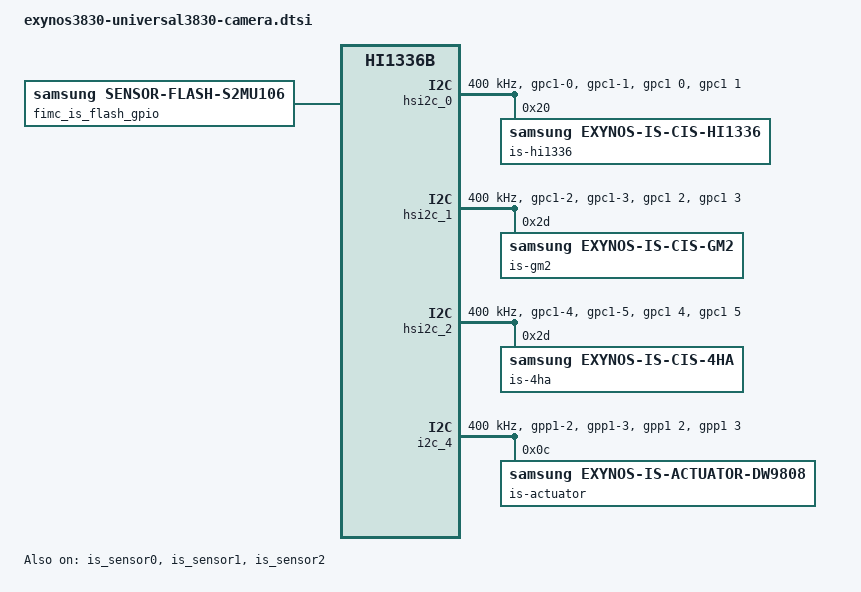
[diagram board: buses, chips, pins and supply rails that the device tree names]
/*
 * Samsung Exynos SoC series Pablo driver
 *
 * Copyright (c) 2019 Samsung Electronics Co., Ltd
 *
 * This program is free software; you can redistribute it and/or modify
 * it under the terms of the GNU General Public License version 2 as
 * published by the Free Software Foundation.
 */

#include <dt-bindings/camera/exynos_is_dt.h>
#include <dt-bindings/interrupt-controller/exynos3830.h>
#include <dt-bindings/clock/exynos3830.h>

#include "camera/module_gm2.dtsi"
#include "camera/module_hi1336b.dtsi"

/ {
	fragment@camera {
		target-path = "/";
		__overlay__ {
			/* REAR CAMERA */
			is_sensor_gm2: is_sensor_gm2@3D {
				pinctrl-names = "pin0", "pin1", "pin2", "release";
				pinctrl-0 = <>;
				pinctrl-1 = <&sensor_mclk0_out>;
				pinctrl-2 = <&sensor_mclk0_fn>;
				pinctrl-3 = <>;

				position = <0>; /* Rear:0. Front:1 */
				id = <0>; /* sensor node id */
				mclk_ch = <0>;
				sensor_i2c_ch = <0>; /* I2C 0 */

				status = "okay";

				af {
					product_name = <24>; /* ACTUATOR_NAME_DW9808 */
					i2c_ch = <0>; /* SENSOR_CONTROL_I2C0 */
				};

				flash {
					product_name = <14>; /* FLASH_S2MU106 */
				};

				power_seq {
					gpio_mclk = <&gpc0 0 0x1>;

					scenario_normal_on {
						/* A start node number should be over the 10 for reserved number 0~9. */
						/* pname = "name"; pin = <act value dealy voltage>; gpio = <gpx# # 0x1>; */
						10 { pname = "MCLK"; pin = <PIN_MCLK 1 1000>; };
						20 { pname = "sen_rst low"; pin = <PIN_OUTPUT 0 0>; gpio = <&gpa2 3 0x1>; };
						30 { pname = "S2MPB03_VLDO6"; pin = <PIN_REGULATOR 1 0>; };
						40 { pname = "S2MPB03_VLDO3"; pin = <PIN_REGULATOR 1 0>; };
						50 { pname = "S2MPB03_VLDO1"; pin = <PIN_REGULATOR 1 0>; };
						60 { pname = "vdd_ldo32"; pin = <PIN_REGULATOR 1 1000>; };
						65 { pname = "cam_mipi_sel"; pin = <PIN_OUTPUT 1 2000>; gpio = <&gpg2 7 0x0>; };
						70 { pname = "mipi_sel"; pin = <PIN_OUTPUT 0 1000>; gpio = <&gpg2 5 0x0>; };
						80 { pname = "cam_mipi_sel"; pin = <PIN_OUTPUT 0 1000>; gpio = <&gpg2 7 0x0>; };
						90 { pname = "none"; pin = <PIN_NONE 0 0>; };
						100 { pname = "on_i2c"; pin = <PIN_I2C 1 0>; };
						110 { pname = "pin"; pin = <PIN_FUNCTION 2 1000>; };
						120 { pname = "sen_rst high"; pin = <PIN_OUTPUT 1 5000>; gpio = <&gpa2 3 0x1>; };
					};

					scenario_normal_off {
						/* A start node number should be over the 10 for reserved number 0~9. */
						/* pname = "name"; pin = <act value dealy voltage>; gpio = <gpx# # 0x1>; */
						10 { pname = "sen_rst"; pin = <PIN_RESET 0 10>; gpio = <&gpa2 3 0x1>; };
						20 { pname = "sen_rst input"; pin = <PIN_INPUT 0 0>; gpio = <&gpa2 3 0x1>; };
						30 { pname = "vdd_ldo32"; pin = <PIN_REGULATOR 0 0>; };
						40 { pname = "S2MPB03_VLDO1"; pin = <PIN_REGULATOR 0 0>; };
						50 { pname = "S2MPB03_VLDO6"; pin = <PIN_REGULATOR 0 0>; };
						60 { pname = "S2MPB03_VLDO3"; pin = <PIN_REGULATOR 0 0>; };
						70 { pname = "none"; pin = <PIN_NONE 0 0>; };
						80 { pname = "off_i2c"; pin = <PIN_I2C 0 0>; };
						90 { pname = "pin"; pin = <PIN_FUNCTION 0 0>; };
						100 { pname = "pin"; pin = <PIN_FUNCTION 1 0>; };
						110 { pname = "pin"; pin = <PIN_FUNCTION 0 0>; };
						120 { pname = "MCLK"; pin = <PIN_MCLK 0 5000>; };
					};
				};
			};

			/* FRONT CAMERA */
			is_sensor_hi1336: is_sensor_hi1336@D3 {
				pinctrl-names = "pin0", "pin1", "pin2", "release";
				pinctrl-0 = <>;
				pinctrl-1 = <&sensor_mclk1_out>;
				pinctrl-2 = <&sensor_mclk1_fn>;
				pinctrl-3 = <>;

				position = <1>; /* Rear:0. Front:1 */
				id = <1>; /* sensor node id */
				mclk_ch = <1>;
				sensor_i2c_ch = <1>;

				status = "okay";

				power_seq {
					gpio_mclk = <&gpc0 1 0x1>;

					scenario_normal_on {
						/* A start node number should be over the 10 for reserved number 0~9. */
						/* pname = "name"; pin = <act value dealy voltage>; gpio = <gpx# # 0x1>; */
						10 { pname = "sen_rst low"; pin = <PIN_OUTPUT 0 0>; gpio = <&gpa2 4 0x1>; };
						20 { pname = "S2MPB03_VLDO7"; pin = <PIN_REGULATOR 1 0>; };
						30 { pname = "S2MPB03_VLDO3"; pin = <PIN_REGULATOR 1 0>; };
						40 { pname = "S2MPB03_VLDO2"; pin = <PIN_REGULATOR 1 0>; };
						50 { pname = "none"; pin = <PIN_NONE 0 1000>; };
						60 { pname = "on_i2c"; pin = <PIN_I2C 1 0>; };
						70 { pname = "pin"; pin = <PIN_FUNCTION 2 0>; };
						80 { pname = "MCLK"; pin = <PIN_MCLK 1 0>; };
						90 { pname = "sen_rst high"; pin = <PIN_OUTPUT 1 0>; gpio = <&gpa2 4 0x1>; };
						/* need eeprom pin control */
					};

					scenario_normal_off {
						/* A start node number should be over the 10 for reserved number 0~9. */
						/* pname = "name"; pin = <act value dealy voltage>; gpio = <gpx# # 0x1>; */
						10 { pname = "sen_rst"; pin = <PIN_RESET 0 10>; gpio = <&gpa2 4 0x1>; };
						20 { pname = "sen_rst input"; pin = <PIN_INPUT 0 0>; gpio = <&gpa2 4 0x1>; };
						30 { pname = "S2MPB03_VLDO2"; pin = <PIN_REGULATOR 0 0>; };
						40 { pname = "S2MPB03_VLDO3"; pin = <PIN_REGULATOR 0 0>; };
						50 { pname = "S2MPB03_VLDO7"; pin = <PIN_REGULATOR 0 0>; };
						60 { pname = "off_i2c"; pin = <PIN_I2C 0 0>; };
						70 { pname = "pin"; pin = <PIN_FUNCTION 0 0>; };
						80 { pname = "pin"; pin = <PIN_FUNCTION 1 0>; };
						90 { pname = "pin"; pin = <PIN_FUNCTION 0 0>; };
						100 { pname = "MCLK"; pin = <PIN_MCLK 0 0>; };
						/* need eeprom pin control */
					};
				};
			};

			fimc_is_flash_gpio: fimc-is-flash-gpio@0 {
				compatible = "samsung,sensor-flash-s2mu106";
				id = <0>;
				led_ch = <1 2>; /* CH1 ~ CH4, CH0 not exist */
				status = "okay";
			};
		}; /* end of __overlay__ */
	}; /* end of fragment */
}; /* end of root */

/***** reference symbol node *****/

&exynos_is {
	vender {
		rear_sensor_id = <61>; /* GM2 */
		front_sensor_id = <211>; /* HI1336 */
		rear2_sensor_id = <39>; /* 4HA */
	};

	lic_offsets {
		/* 3AA = <setA lic offset0, setA lic offset1, set A trigger context */
		/*		setB lic offset0, setB lic offset1, set B trigger context> */
		/* 4672: 4640x4352 */
		/* 5824: 5804x4352 */
		3AA = <3776 7552 1 3776 7552 2>;
	};

	is_dvfs {
		#define DVFS_INT_L0 667000
		#define DVFS_INT_L1 534000
		#define DVFS_INT_L2 334000
		#define DVFS_INT_L3 200000
		#define DVFS_INT_L4 100000

		#define DVFS_CAM_L0 690000
		#define DVFS_CAM_L1 680000
		#define DVFS_CAM_L2 670000
		#define DVFS_CAM_L3 660000
		#define DVFS_CAM_L4 650000

		#define DVFS_MIF_L0 1794000
		#define DVFS_MIF_L1 1539000
		#define DVFS_MIF_L2 1352000
		#define DVFS_MIF_L3 1014000
		#define DVFS_MIF_L4 845000
		#define DVFS_MIF_L5 676000
		#define DVFS_MIF_L6 546000
		#define DVFS_MIF_L7 421000

		table0 {
			desc = "dvfs table v0.0 for 12M/8M/5M";

			default_cam = <DVFS_CAM_L0>;
			default_mif = <DVFS_MIF_L0>;
			default_int = <DVFS_INT_L0>;
			default_hpg = <0>;

			front_preview_cam = <DVFS_CAM_L0>;
			front_preview_mif = <DVFS_MIF_L0>;
			front_preview_int = <DVFS_INT_L0>;
			front_preview_hpg = <0>;

			front_preview_full_cam = <DVFS_CAM_L0>;
			front_preview_full_mif = <DVFS_MIF_L0>;
			front_preview_full_int = <DVFS_INT_L0>;
			front_preview_full_hpg = <0>;

			front_capture_cam = <DVFS_CAM_L0>;
			front_capture_mif = <DVFS_MIF_L0>;
			front_capture_int = <DVFS_INT_L0>;
			front_capture_hpg = <0>;

			front_video_cam = <DVFS_CAM_L0>;
			front_video_mif = <DVFS_MIF_L0>;
			front_video_int = <DVFS_INT_L0>;
			front_video_hpg = <0>;

			front_video_whd_cam = <DVFS_CAM_L0>;
			front_video_whd_mif = <DVFS_MIF_L0>;
			front_video_whd_int = <DVFS_INT_L0>;
			front_video_whd_hpg = <0>;

			front_video_uhd_cam = <DVFS_CAM_L0>;
			front_video_uhd_mif = <DVFS_MIF_L0>;
			front_video_uhd_int = <DVFS_INT_L0>;
			front_video_uhd_hpg = <0>;

			front_video_capture_cam = <DVFS_CAM_L0>;
			front_video_capture_mif = <DVFS_MIF_L0>;
			front_video_capture_int = <DVFS_INT_L0>;
			front_video_capture_hpg = <0>;

			front_video_whd_capture_cam = <DVFS_CAM_L0>;
			front_video_whd_capture_mif = <DVFS_MIF_L0>;
			front_video_whd_capture_int = <DVFS_INT_L0>;
			front_video_whd_capture_hpg = <0>;

			front_video_uhd_capture_cam = <DVFS_CAM_L0>;
			front_video_uhd_capture_mif = <DVFS_MIF_L0>;
			front_video_uhd_capture_int = <DVFS_INT_L0>;
			front_video_uhd_capture_hpg = <0>;

			front_vt1_cam = <DVFS_CAM_L0>;
			front_vt1_mif = <DVFS_MIF_L0>;
			front_vt1_int = <DVFS_INT_L0>;
			front_vt1_hpg = <0>;

			front_vt2_cam = <DVFS_CAM_L0>;
			front_vt2_mif = <DVFS_MIF_L0>;
			front_vt2_int = <DVFS_INT_L0>;
			front_vt2_hpg = <0>;

			front_vt4_cam = <DVFS_CAM_L0>;
			front_vt4_mif = <DVFS_MIF_L0>;
			front_vt4_int = <DVFS_INT_L0>;
			front_vt4_hpg = <0>;

			front_preview_high_speed_fps_cam = <DVFS_CAM_L0>;
			front_preview_high_speed_fps_mif = <DVFS_MIF_L0>;
			front_preview_high_speed_fps_int = <DVFS_INT_L0>;
			front_preview_high_speed_fps_hpg = <0>;

			rear2_preview_fhd_cam = <DVFS_CAM_L0>;
			rear2_preview_fhd_mif = <DVFS_MIF_L0>;
			rear2_preview_fhd_int = <DVFS_INT_L0>;
			rear2_preview_fhd_hpg = <0>;

			rear2_capture_cam = <DVFS_CAM_L0>;
			rear2_capture_mif = <DVFS_MIF_L0>;
			rear2_capture_int = <DVFS_INT_L0>;
			rear2_capture_hpg = <0>;

			rear2_video_fhd_cam = <DVFS_CAM_L0>;
			rear2_video_fhd_mif = <DVFS_MIF_L0>;
			rear2_video_fhd_int = <DVFS_INT_L0>;
			rear2_video_fhd_hpg = <0>;

			rear2_video_fhd_capture_cam = <DVFS_CAM_L0>;
			rear2_video_fhd_capture_mif = <DVFS_MIF_L0>;
			rear2_video_fhd_capture_int = <DVFS_INT_L0>;
			rear2_video_fhd_capture_hpg = <0>;

			rear_preview_fhd_cam = <DVFS_CAM_L0>;
			rear_preview_fhd_mif = <DVFS_MIF_L0>;
			rear_preview_fhd_int = <DVFS_INT_L0>;
			rear_preview_fhd_hpg = <0>;

			rear_preview_whd_cam = <DVFS_CAM_L0>;
			rear_preview_whd_mif = <DVFS_MIF_L0>;
			rear_preview_whd_int = <DVFS_INT_L0>;
			rear_preview_whd_hpg = <0>;

			rear_preview_uhd_cam = <DVFS_CAM_L0>;
			rear_preview_uhd_mif = <DVFS_MIF_L0>;
			rear_preview_uhd_int = <DVFS_INT_L0>;
			rear_preview_uhd_hpg = <0>;

			rear_preview_uhd_60fps_cam = <DVFS_CAM_L0>;
			rear_preview_uhd_60fps_mif = <DVFS_MIF_L0>;
			rear_preview_uhd_60fps_int = <DVFS_INT_L0>;
			rear_preview_uhd_60fps_hpg = <0>;

			rear_preview_full_cam = <DVFS_CAM_L0>;
			rear_preview_full_mif = <DVFS_MIF_L0>;
			rear_preview_full_int = <DVFS_INT_L0>;
			rear_preview_full_hpg = <0>;

			rear_capture_cam = <DVFS_CAM_L0>;
			rear_capture_mif = <DVFS_MIF_L0>;
			rear_capture_int = <DVFS_INT_L0>;
			rear_capture_hpg = <0>;

			rear_video_fhd_cam = <DVFS_CAM_L0>;
			rear_video_fhd_mif = <DVFS_MIF_L0>;
			rear_video_fhd_int = <DVFS_INT_L0>;
			rear_video_fhd_hpg = <0>;

			rear_video_whd_cam = <DVFS_CAM_L0>;
			rear_video_whd_mif = <DVFS_MIF_L0>;
			rear_video_whd_int = <DVFS_INT_L0>;
			rear_video_whd_hpg = <0>;

			rear_video_uhd_cam = <DVFS_CAM_L0>;
			rear_video_uhd_mif = <DVFS_MIF_L0>;
			rear_video_uhd_int = <DVFS_INT_L0>;
			rear_video_uhd_hpg = <0>;

			rear_video_uhd_60fps_cam = <DVFS_CAM_L0>;
			rear_video_uhd_60fps_mif = <DVFS_MIF_L0>;
			rear_video_uhd_60fps_int = <DVFS_INT_L0>;
			rear_video_uhd_60fps_hpg = <0>;

			rear_video_fhd_capture_cam = <DVFS_CAM_L0>;
			rear_video_fhd_capture_mif = <DVFS_MIF_L0>;
			rear_video_fhd_capture_int = <DVFS_INT_L0>;
			rear_video_fhd_capture_hpg = <0>;

			rear_video_whd_capture_cam = <DVFS_CAM_L0>;
			rear_video_whd_capture_mif = <DVFS_MIF_L0>;
			rear_video_whd_capture_int = <DVFS_INT_L0>;
			rear_video_whd_capture_hpg = <0>;

			rear_video_uhd_capture_cam = <DVFS_CAM_L0>;
			rear_video_uhd_capture_mif = <DVFS_MIF_L0>;
			rear_video_uhd_capture_int = <DVFS_INT_L0>;
			rear_video_uhd_capture_hpg = <0>;

			dual_preview_cam = <DVFS_CAM_L0>;
			dual_preview_mif = <DVFS_MIF_L0>;
			dual_preview_int = <DVFS_INT_L0>;
			dual_preview_hpg = <0>;

			dual_capture_cam = <DVFS_CAM_L0>;
			dual_capture_mif = <DVFS_MIF_L0>;
			dual_capture_int = <DVFS_INT_L0>;
			dual_capture_hpg = <0>;

			dual_video_fhd_cam = <DVFS_CAM_L0>;
			dual_video_fhd_mif = <DVFS_MIF_L0>;
			dual_video_fhd_int = <DVFS_INT_L0>;
			dual_video_fhd_hpg = <0>;

			dual_video_fhd_capture_cam = <DVFS_CAM_L0>;
			dual_video_fhd_capture_mif = <DVFS_MIF_L0>;
			dual_video_fhd_capture_int = <DVFS_INT_L0>;
			dual_video_fhd_capture_hpg = <0>;

			dual_video_uhd_cam = <DVFS_CAM_L0>;
			dual_video_uhd_mif = <DVFS_MIF_L0>;
			dual_video_uhd_int = <DVFS_INT_L0>;
			dual_video_uhd_hpg = <0>;

			dual_video_uhd_capture_cam = <DVFS_CAM_L0>;
			dual_video_uhd_capture_mif = <DVFS_MIF_L0>;
			dual_video_uhd_capture_int = <DVFS_INT_L0>;
			dual_video_uhd_capture_hpg = <0>;

			dual_sync_preview_cam = <DVFS_CAM_L0>;
			dual_sync_preview_mif = <DVFS_MIF_L0>;
			dual_sync_preview_int = <DVFS_INT_L0>;
			dual_sync_preview_hpg = <0>;

			dual_sync_capture_cam = <DVFS_CAM_L0>;
			dual_sync_capture_mif = <DVFS_MIF_L0>;
			dual_sync_capture_int = <DVFS_INT_L0>;
			dual_sync_capture_hpg = <0>;

			dual_sync_preview_whd_cam = <DVFS_CAM_L0>;
			dual_sync_preview_whd_mif = <DVFS_MIF_L0>;
			dual_sync_preview_whd_int = <DVFS_INT_L0>;
			dual_sync_preview_whd_hpg = <0>;

			dual_sync_whd_capture_cam = <DVFS_CAM_L0>;
			dual_sync_whd_capture_mif = <DVFS_MIF_L0>;
			dual_sync_whd_capture_int = <DVFS_INT_L0>;
			dual_sync_whd_capture_hpg = <0>;

			dual_sync_video_fhd_cam = <DVFS_CAM_L0>;
			dual_sync_video_fhd_mif = <DVFS_MIF_L0>;
			dual_sync_video_fhd_int = <DVFS_INT_L0>;
			dual_sync_video_fhd_hpg = <0>;

			dual_sync_video_fhd_capture_cam = <DVFS_CAM_L0>;
			dual_sync_video_fhd_capture_mif = <DVFS_MIF_L0>;
			dual_sync_video_fhd_capture_int = <DVFS_INT_L0>;
			dual_sync_video_fhd_capture_hpg = <0>;

			dual_sync_video_uhd_cam = <DVFS_CAM_L0>;
			dual_sync_video_uhd_mif = <DVFS_MIF_L0>;
			dual_sync_video_uhd_int = <DVFS_INT_L0>;
			dual_sync_video_uhd_hpg = <0>;

			dual_sync_video_uhd_capture_cam = <DVFS_CAM_L0>;
			dual_sync_video_uhd_capture_mif = <DVFS_MIF_L0>;
			dual_sync_video_uhd_capture_int = <DVFS_INT_L0>;
			dual_sync_video_uhd_capture_hpg = <0>;

			secure_front_cam = <DVFS_CAM_L0>;
			secure_front_mif = <DVFS_MIF_L0>;
			secure_front_int = <DVFS_INT_L0>;
			secure_front_hpg = <0>;

			pip_preview_cam = <DVFS_CAM_L0>;
			pip_preview_mif = <DVFS_MIF_L0>;
			pip_preview_int = <DVFS_INT_L0>;
			pip_preview_hpg = <0>;

			pip_capture_cam = <DVFS_CAM_L0>;
			pip_capture_mif = <DVFS_MIF_L0>;
			pip_capture_int = <DVFS_INT_L0>;
			pip_capture_hpg = <0>;

			pip_video_cam = <DVFS_CAM_L0>;
			pip_video_mif = <DVFS_MIF_L0>;
			pip_video_int = <DVFS_INT_L0>;
			pip_video_hpg = <0>;

			pip_video_capture_cam = <DVFS_CAM_L0>;
			pip_video_capture_mif = <DVFS_MIF_L0>;
			pip_video_capture_int = <DVFS_INT_L0>;
			pip_video_capture_hpg = <0>;

			preview_high_speed_fps_cam = <DVFS_CAM_L0>;
			preview_high_speed_fps_mif = <DVFS_MIF_L0>;
			preview_high_speed_fps_int = <DVFS_INT_L0>;
			preview_high_speed_fps_hpg = <0>;

			video_high_speed_60fps_cam = <DVFS_CAM_L0>;
			video_high_speed_60fps_mif = <DVFS_MIF_L0>;
			video_high_speed_60fps_int = <DVFS_INT_L0>;
			video_high_speed_60fps_hpg = <0>;

			video_high_speed_120fps_cam = <DVFS_CAM_L0>;
			video_high_speed_120fps_mif = <DVFS_MIF_L0>;
			video_high_speed_120fps_int = <DVFS_INT_L0>;
			video_high_speed_120fps_hpg = <0>;

			video_high_speed_240fps_cam = <DVFS_CAM_L0>;
			video_high_speed_240fps_mif = <DVFS_MIF_L0>;
			video_high_speed_240fps_int = <DVFS_INT_L0>;
			video_high_speed_240fps_hpg = <0>;

			video_high_speed_dualfps_cam = <DVFS_CAM_L0>;
			video_high_speed_dualfps_mif = <DVFS_MIF_L0>;
			video_high_speed_dualfps_int = <DVFS_INT_L0>;
			video_high_speed_dualfps_hpg = <0>;

			video_high_speed_60fps_capture_cam = <DVFS_CAM_L0>;
			video_high_speed_60fps_capture_mif = <DVFS_MIF_L0>;
			video_high_speed_60fps_capture_int = <DVFS_INT_L0>;
			video_high_speed_60fps_capture_hpg = <0>;

			ext_front_cam = <DVFS_CAM_L0>;
			ext_front_mif = <DVFS_MIF_L0>;
			ext_front_int = <DVFS_INT_L0>;
			ext_front_hpg = <0>;

			ext_secure_cam = <DVFS_CAM_L0>;
			ext_secure_mif = <DVFS_MIF_L0>;
			ext_secure_int = <DVFS_INT_L0>;
			ext_secure_hpg = <0>;

			max_cam = <DVFS_CAM_L0>;
			max_mif = <DVFS_MIF_L0>;
			max_int = <DVFS_INT_L0>;
			max_hpg = <0>;
		};
	};
};

&pinctrl_5 {
	/* FRONT */
	/* No pull-up resistor, use internal one */
	hsi2c_0_bus: hsi2c_0-bus {
		samsung,pins = "gpc1-0", "gpc1-1";
		samsung,pin-function = <2>;
		samsung,pin-pud = <3>;
		samsung,pin-drv = <0>;
	};

	hsi2c_0_bus_in: hsi2c_0-bus-in {
		samsung,pins = "gpc1-0", "gpc1-1";
		samsung,pin-function = <3>;
		samsung,pin-pud = <3>;
		samsung,pin-drv = <0>;
	};

	/* REAR */
	/* No pull-up resistor, use internal one */
	hsi2c_1_bus: hsi2c_1-bus {
		samsung,pins = "gpc1-2", "gpc1-3";
		samsung,pin-function = <2>;
		samsung,pin-pud = <3>;
		samsung,pin-drv = <0>;
	};

	hsi2c_1_bus_in: hsi2c_1-bus-in {
		samsung,pins = "gpc1-2", "gpc1-3";
		samsung,pin-function = <3>;
		samsung,pin-pud = <3>;
		samsung,pin-drv = <0>;
	};

	/* REAR2 */
	/* No pull-up resistor, use internal one */
	hsi2c_2_bus: hsi2c_2-bus {
		samsung,pins = "gpc1-4", "gpc1-5";
		samsung,pin-function = <2>;
		samsung,pin-pud = <3>;
		samsung,pin-drv = <0>;
	};

	hsi2c_2_bus_in: hsi2c_2-bus-in {
		samsung,pins = "gpc1-4", "gpc1-5";
		samsung,pin-function = <3>;
		samsung,pin-pud = <3>;
		samsung,pin-drv = <0>;
	};

	/* rear EEPROM, Actuator */
	i2c_4_bus: i2c_4-bus {
		samsung,pins = "gpp1-2", "gpp1-3";
		samsung,pin-function = <2>;
		samsung,pin-pud = <3>;
		samsung,pin-drv = <0>;
	};

	i2c_4_bus_in: i2c_4-bus-in {
		samsung,pins = "gpp1-2", "gpp1-3";
		samsung,pin-function = <3>;
		samsung,pin-pud = <3>;
		samsung,pin-drv = <0>;
	};
};

&hsi2c_0 {
	#address-cells = <1>;
	#size-cells = <0>;
	gpios = <&gpc1 0 0 &gpc1 1 0>;
	status = "okay";
	clock-frequency = <400000>;
	samsung,reset-before-trans;
	samsung,fast-plus-mode;

	pinctrl-names = "default","on_i2c","off_i2c";
	pinctrl-0 = <&hsi2c_0_bus_in>;
	pinctrl-1 = <&hsi2c_0_bus>;
	pinctrl-2 = <&hsi2c_0_bus_in>;

	is-hi1336@D3 {
		compatible = "samsung,exynos-is-cis-hi1336";
		reg = <0x20>;
		id = <1>; /* matching sensor id */
		setfile = "setB";
		use_initial_ae;
	};
};

&hsi2c_1 {
	#address-cells = <1>;
	#size-cells = <0>;
	gpios = <&gpc1 2 0 &gpc1 3 0>;
	status = "okay";
	clock-frequency = <400000>;

	pinctrl-names = "default","on_i2c","off_i2c";
	pinctrl-0 = <&hsi2c_1_bus_in>;
	pinctrl-1 = <&hsi2c_1_bus>;
	pinctrl-2 = <&hsi2c_1_bus_in>;

	is-gm2@3D {
		compatible = "samsung,exynos-is-cis-gm2";
		reg = <0x2D>;
		id = <0>; /* matching sensor id */
		setfile = "setB";
		use_initial_ae;
	};
};

&hsi2c_2 {
	#address-cells = <1>;
	#size-cells = <0>;
	gpios = <&gpc1 4 0 &gpc1 5 0>;
	status = "okay";
	clock-frequency = <400000>;
	samsung,reset-before-trans;
	samsung,fast-plus-mode;

	pinctrl-names = "default","on_i2c","off_i2c";
	pinctrl-0 = <&hsi2c_2_bus_in>;
	pinctrl-1 = <&hsi2c_2_bus>;
	pinctrl-2 = <&hsi2c_2_bus_in>;

	is-4ha@36 {
		compatible = "samsung,exynos-is-cis-4ha";
		reg = <0x2D>;
		id = <2>; /* matching sensor id */
		setfile = "setB";
		use_initial_ae;
	};
};

&i2c_4 {
	#address-cells = <1>;
	#size-cells = <0>;
	gpios = <&gpp1 2 0 &gpp1 3 0>;
	status = "okay";
	clock-frequency = <400000>;

	pinctrl-names = "default","on_i2c","off_i2c";
	pinctrl-0 = <&i2c_4_bus_in>;
	pinctrl-1 = <&i2c_4_bus>;
	pinctrl-2 = <&i2c_4_bus_in>;

	is-actuator@18 {
		compatible = "samsung,exynos-is-actuator-dw9808";
		reg = <0x0C>;
		id = <0>; /* matching is_sensor id */
		place = <0>;
	};
};

&is_sensor0 {
	#address-cells = <1>;
	#size-cells = <1>;
	scenario = <SENSOR_SCENARIO_NORMAL>;	/* Normal, Vision, OIS etc */
	id = <0>;
	csi_ch = <1>;
	dma_ch = <0 0 0 0>;
	vc_ch = <0 1 2 3>;
	flite_ch = <FLITE_ID_NOTHING>;
	is_bns = <0>;
	csi_mux = <0x1>;	/* IPP_INPUT = (ipp1_in << 4 | ipp0_in) */
	status = "okay";
	reg = <0x0 0x14410000 0x1000>, /* MIPI-CSI1 */
	    <0x0 0x144A0000 0x10000>; /* PHY: m0s4s4s2 */
	reg-names = "csi", "phy";
	interrupts = <0 INTREQ__CSIS1 IRQ_TYPE_LEVEL_HIGH>, /* MIPI-CSI1 */
			<0 INTREQ__CSIS_DMA_0 IRQ_TYPE_LEVEL_HIGH>,
			<0 INTREQ__CSIS_DMA_0 IRQ_TYPE_LEVEL_HIGH>,
			<0 INTREQ__CSIS_DMA_0 IRQ_TYPE_LEVEL_HIGH>,
			<0 INTREQ__CSIS_DMA_0 IRQ_TYPE_LEVEL_HIGH>;
	interrupt-names = "csi",
			"mode0_VC0", "mode0_VC1", "mode0_VC2", "mode0_VC3";
	phys = <&mipi_phy_csis1_m0s4s4s2 0>;
	phy-names = "csis_dphy";

	/* without PAF HW */
	sensor0_ch_mode0: sensor0-ch-mode0 {
		reg = <0x14431000 0x100>, /* DMA0 VC0 */
			<0x14431400 0x100>, /* DMA0 Common */
			<0x14431100 0x100>, /* DMA0 VC1 */
			<0x14431400 0x100>, /* DMA0 Common */
			<0x14431200 0x100>, /* DMA0 VC2 */
			<0x14431400 0x100>, /* DMA0 Common */
			<0x14431300 0x100>, /* DMA0 VC3 */
			<0x14431400 0x100>; /* DMA0 Common */
	};
};

&is_sensor1 {
	#address-cells = <1>;
	#size-cells = <1>;
	scenario = <SENSOR_SCENARIO_NORMAL>;    /* Normal, Vision, OIS etc */
	id = <1>;
	csi_ch = <0>;
	dma_ch = <1 1 1 1>;
	vc_ch = <0 1 2 3>;
	flite_ch = <FLITE_ID_NOTHING>;
	is_bns = <0>;
	csi_mux = <0x1>;	/* IPP_INPUT = (ipp1_in << 4 | ipp0_in) = (CSI_ID_A << 4 | CSI_ID_B) */
	status = "okay";

	reg = <0x0 0x14400000 0x1000>, /* MIPI-CSI0 */
		<0x0 0x14490000 0x10000>; /* PHY: m0s4s4s2 */
	reg-names = "csi", "phy";
	interrupts = <0 INTREQ__CSIS0 IRQ_TYPE_LEVEL_HIGH>, /*MIPI-CSI0 */
		<0 INTREQ__CSIS_DMA_0 IRQ_TYPE_LEVEL_HIGH>,
		<0 INTREQ__CSIS_DMA_0 IRQ_TYPE_LEVEL_HIGH>,
		<0 INTREQ__CSIS_DMA_0 IRQ_TYPE_LEVEL_HIGH>,
		<0 INTREQ__CSIS_DMA_0 IRQ_TYPE_LEVEL_HIGH>;
	interrupt-names = "csi",
		"mode0_VC0", "mode0_VC1", "mode0_VC2", "mode0_VC3";
	phys = <&mipi_phy_csis0_m0s4s4s2 0>;
	phy-names = "csis_dphy";

	/* without PAF HW */
	sensor1_ch_mode0: sensor1-ch-mode0 {
		reg = <0x14432000 0x100>, /* DMA1 VC0 */
			<0x14432400 0x100>, /* DMA1 Common */
			<0x14432100 0x100>, /* DMA1 VC1 */
			<0x14432400 0x100>, /* DMA1 Common */
			<0x14432200 0x100>, /* DMA1 VC2 */
			<0x14432400 0x100>, /* DMA1 Common */
			<0x14432300 0x100>, /* DMA1 VC3 */
			<0x14432400 0x100>; /* DMA1 Common */
	};
};

&is_sensor2 {
	#address-cells = <1>;
	#size-cells = <1>;
	scenario = <SENSOR_SCENARIO_NORMAL>;    /* Normal, Vision, OIS etc */
	id = <2>;
	csi_ch = <2>;
	dma_ch = <1 1 1 1>;
	vc_ch = <0 1 2 3>;
	flite_ch = <FLITE_ID_NOTHING>;
	is_bns = <0>;
	csi_mux = <0x21>;	/* IPP_INPUT = (ipp1_in << 4 | ipp0_in) = (CSI_ID_C << 4 | CSI_ID_B) */
	status = "okay";
};
